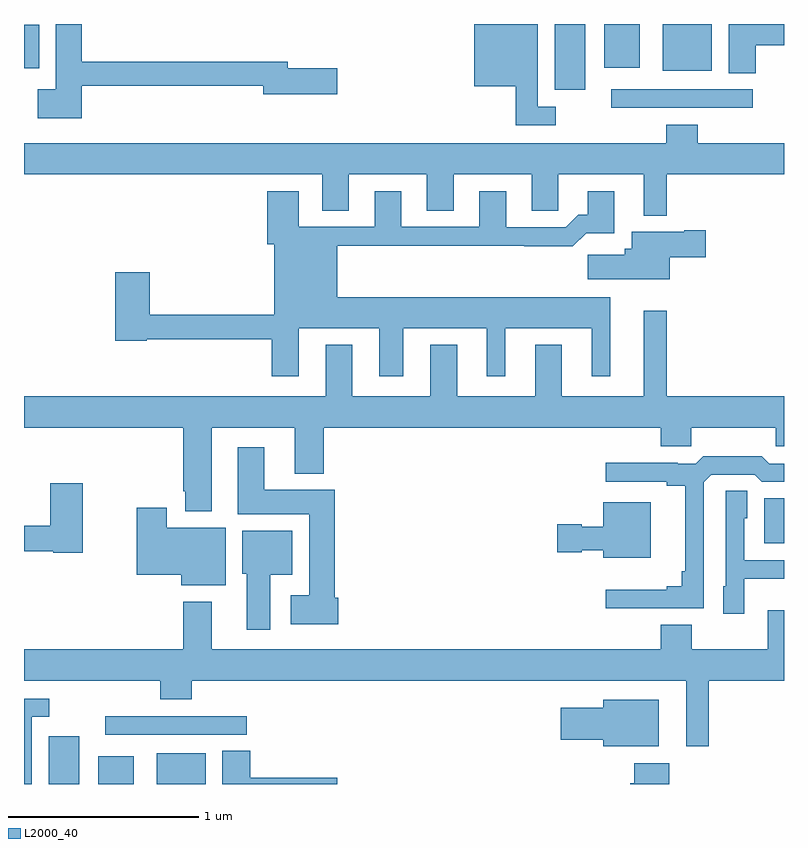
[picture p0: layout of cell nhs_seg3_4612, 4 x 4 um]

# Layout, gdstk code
import gdstk
lib = gdstk.Library(unit=1e-6, precision=1e-09)
def R(c, l, rs):  # rectangles x0, y0, x1, y1
    for r in rs: c.add(gdstk.rectangle(r[:2], r[2:], *l))
def P(c, l, *ps):  # polygons
    for p in ps: c.add(gdstk.Polygon(p, *l))
L2000_40 = (2000, 40)

nhs_seg3_4612 = lib.new_cell('nhs_seg3_4612')
R(nhs_seg3_4612, L2000_40, [(359.129,672.4,359.29,672.652), (359.39,672.4,359.578,672.547), (359.699,672.4,359.956,672.562), (359.427,672.66,360.172,672.756), (362.897,673.667,363,673.903), (362.091,675.96,362.836,676.056), (361.793,676.055,361.954,676.4), (362.363,676.154,362.62,676.4), (359,676.166,359.08,676.396), (362.054,676.169,362.242,676.4)])
P(nhs_seg3_4612, L2000_40, [(361.798,675.964),(361.705,675.964),(361.705,676.313),(361.704,676.313),(361.704,676.4),(361.37,676.4),(361.37,676.073),(361.588,676.073),(361.588,675.867),(361.798,675.867)],
  [(359.303,676.074),(360.26,676.074),(360.26,676.031),(360.649,676.031),(360.649,676.166),(360.388,676.166),(360.388,676.202),(359.303,676.202),(359.303,676.4),(359.168,676.4),(359.168,676.057),(359.073,676.057),(359.073,675.905),(359.303,675.905)],
  [(362.85,676.288),(363,676.288),(363,676.4),(362.708,676.4),(362.708,676.141),(362.85,676.141)],
  [(359,675.608),(360.569,675.608),(360.569,675.418),(360.709,675.418),(360.709,675.608),(361.121,675.608),(361.121,675.418),(361.261,675.418),(361.261,675.608),(361.673,675.608),(361.673,675.418),(361.812,675.418),(361.812,675.608),(362.261,675.608),(362.261,675.392),(362.383,675.392),(362.383,675.608),(363,675.608),(363,675.772),(362.546,675.772),(362.546,675.871),(362.381,675.871),(362.381,675.772),(359,675.772)],
  [(360.445,674.798),(360.869,674.798),(360.869,674.547),(360.997,674.547),(360.997,674.798),(361.436,674.798),(361.436,674.547),(361.534,674.547),(361.534,674.798),(361.988,674.798),(361.988,674.547),(362.086,674.547),(362.086,674.962),(360.649,674.962),(360.649,675.232),(361.633,675.232),(361.633,675.23),(361.889,675.23),(361.958,675.299),(362.107,675.299),(362.107,675.52),(361.967,675.52),(361.967,675.397),(361.918,675.397),(361.851,675.33),(361.537,675.33),(361.537,675.52),(361.397,675.52),(361.397,675.333),(360.985,675.333),(360.985,675.52),(360.845,675.52),(360.845,675.333),(360.445,675.333),(360.445,675.52),(360.281,675.52),(360.281,675.24),(360.317,675.24),(360.317,674.87),(359.663,674.87),(359.663,675.094),(359.48,675.094),(359.48,674.734),(359.646,674.734),(359.646,674.742),(360.305,674.742),(360.305,674.547),(360.445,674.547)],
  [(362.398,675.173),(362.587,675.173),(362.587,675.315),(362.474,675.315),(362.474,675.307),(362.198,675.307),(362.198,675.217),(362.162,675.217),(362.162,675.185),(361.968,675.185),(361.968,675.056),(362.398,675.056)],
  [(359,674.276),(359.837,674.276),(359.837,673.942),(359.849,673.942),(359.849,673.835),(359.989,673.835),(359.989,674.276),(360.425,674.276),(360.425,674.033),(360.578,674.033),(360.578,674.276),(362.351,674.276),(362.351,674.178),(362.511,674.178),(362.511,674.276),(362.956,674.276),(362.956,674.178),(363,674.178),(363,674.44),(362.383,674.44),(362.383,674.89),(362.261,674.89),(362.261,674.44),(361.831,674.44),(361.831,674.713),(361.691,674.713),(361.691,674.44),(361.279,674.44),(361.279,674.713),(361.139,674.713),(361.139,674.44),(360.727,674.44),(360.727,674.713),(360.587,674.713),(360.587,674.44),(359,674.44)],
  [(360.653,673.38),(360.635,673.38),(360.635,673.948),(360.265,673.948),(360.265,674.173),(360.125,674.173),(360.125,673.82),(360.5,673.82),(360.5,673.393),(360.405,673.393),(360.405,673.241),(360.653,673.241)],
  [(362.577,673.989),(362.616,674.028),(362.847,674.028),(362.883,673.992),(363,673.992),(363,674.085),(362.922,674.085),(362.883,674.125),(362.575,674.125),(362.535,674.085),(362.441,674.085),(362.441,674.09),(362.061,674.09),(362.061,673.992),(362.384,673.992),(362.384,673.97),(362.48,673.97),(362.48,673.519),(362.461,673.519),(362.461,673.442),(362.384,673.442),(362.384,673.423),(362.061,673.423),(362.061,673.326),(362.577,673.326)],
  [(359.308,673.984),(359.138,673.984),(359.138,673.76),(359,673.76),(359,673.624),(359.154,673.624),(359.154,673.616),(359.308,673.616)],
  [(362.79,673.481),(363,673.481),(363,673.578),(362.79,673.578),(362.79,673.8),(362.806,673.8),(362.806,673.943),(362.694,673.943),(362.694,673.44),(362.681,673.44),(362.681,673.296),(362.79,673.296)],
  [(362.299,673.882),(362.048,673.882),(362.048,673.753),(361.935,673.753),(361.935,673.766),(361.806,673.766),(361.806,673.619),(361.935,673.619),(361.935,673.631),(362.048,673.631),(362.048,673.592),(362.299,673.592)],
  [(360.061,673.75),(359.752,673.75),(359.752,673.855),(359.594,673.855),(359.594,673.502),(359.828,673.502),(359.828,673.445),(360.061,673.445)],
  [(360.295,673.502),(360.412,673.502),(360.412,673.732),(360.149,673.732),(360.149,673.506),(360.173,673.506),(360.173,673.212),(360.295,673.212)],
  [(362.603,672.944),(363,672.944),(363,673.315),(362.915,673.315),(362.915,673.108),(362.515,673.108),(362.515,673.237),(362.351,673.237),(362.351,673.108),(359.989,673.108),(359.989,673.36),(359.837,673.36),(359.837,673.108),(359,673.108),(359,672.944),(359.717,672.944),(359.717,672.845),(359.882,672.845),(359.882,672.944),(362.486,672.944),(362.486,672.6),(362.603,672.6)],
  [(359.04,672.753),(359.134,672.753),(359.134,672.849),(359,672.849),(359,672.4),(359.04,672.4)],
  [(362.341,672.844),(362.048,672.844),(362.048,672.802),(361.824,672.802),(361.824,672.632),(362.048,672.632),(362.048,672.599),(362.341,672.599)],
  [(360.649,672.434),(360.191,672.434),(360.191,672.575),(360.044,672.575),(360.044,672.4),(360.649,672.4)],
  [(362.395,672.508),(362.211,672.508),(362.211,672.404),(362.191,672.404),(362.191,672.4),(362.395,672.4)])

lib.write_gds('nhs_seg3_4612.gds')
